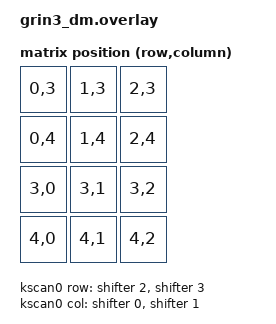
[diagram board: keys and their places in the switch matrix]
#include <dt-bindings/zmk/matrix_transform.h>
#include "grin3-pinctrl.dtsi"
#include "grin3.dtsi"


/ {
  chosen {
    zmk,physical-layout = &grin3_physical_layout;


default_transform: keymap_transform_0 {
      compatible = "zmk,matrix-transform";
      columns = <3>;
      rows = <2>;

      map = <
        RC(0,3) RC(1,3) RC(2,3)
        RC(0,4) RC(1,4) RC(2,4)
        RC(3,0) RC(3,1) RC(3,2)
        RC(4,0) RC(4,1) RC(4,2)
        >;
    };
    
    kscan0 {
        compatible = "zmk,kscan-gpio-matrix";
        col-gpios
            = <&shifter 0 GPIO_ACTIVE_HIGH>
            , <&shifter 1 GPIO_ACTIVE_HIGH>
            ;
        row-gpios
            = <&shifter 2 GPIO_ACTIVE_HIGH>
            , <&shifter 3 GPIO_ACTIVE_HIGH>
            ;
    };
    
  grin3_physical_layout: grin3_physical_layout {
      compatible = "zmk,physical-layout";
      display-name = "Default";
      transform = <&default_transform>;
      kscan = <&kscan0>;

      keys  //                     w   h    x    y     rot    rx    ry
          = <&key_physical_attrs 100 100    0    0       0     0     0>
          , <&key_physical_attrs 100 100  100    0       0     0     0>
          , <&key_physical_attrs 100 100  201    2     375   251    52>
          , <&key_physical_attrs 150 100    0  100       0     0     0>
          , <&key_physical_attrs 100 100  150  100     125   200   150>
          , <&key_physical_attrs 100 100  251  107     625   301   157>
          , <&key_physical_attrs 175 100    0  200       0     0     0>
          , <&key_physical_attrs 100 100  175  201     250   225   251>
          , <&key_physical_attrs 100 100  276  210     750   326   260>
          , <&key_physical_attrs 100 100  375  227    1250   425   277>
          , <&key_physical_attrs 225 100    0  300       0     0     0>
          , <&key_physical_attrs 100 100  226  304     500   276   354>
          , <&key_physical_attrs 100 100  326  318    1000   376   368>
          ;
    };
}
